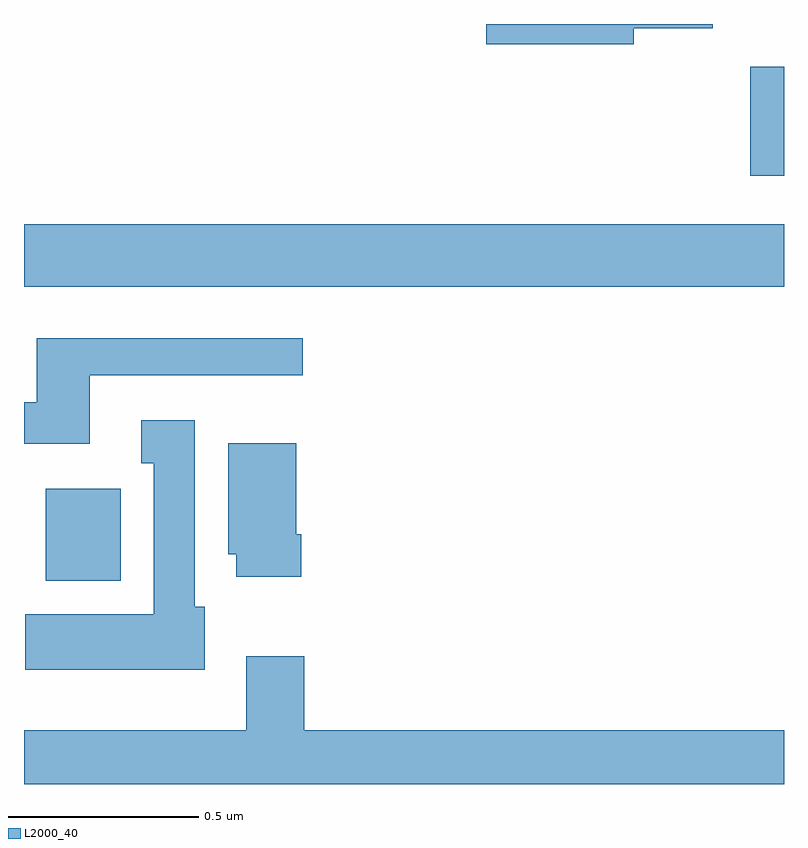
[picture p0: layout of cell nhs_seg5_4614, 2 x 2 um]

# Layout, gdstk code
import gdstk
lib = gdstk.Library(unit=1e-6, precision=1e-09)
def R(c, l, rs):  # rectangles x0, y0, x1, y1
    for r in rs: c.add(gdstk.rectangle(r[:2], r[2:], *l))
def P(c, l, *ps):  # polygons
    for p in ps: c.add(gdstk.Polygon(p, *l))
L2000_40 = (2000, 40)

nhs_seg5_4614 = lib.new_cell('nhs_seg5_4614')
R(nhs_seg5_4614, L2000_40, [(173.057,841.334,173.254,841.576), (173,842.108,175,842.272), (174.911,842.4,175,842.686)])
P(nhs_seg5_4614, L2000_40, [(174.604,842.788),(174.812,842.788),(174.812,842.799),(174.216,842.799),(174.216,842.746),(174.604,842.746)],
  [(173.173,841.875),(173.734,841.875),(173.734,841.972),(173.033,841.972),(173.033,841.804),(173,841.804),(173,841.694),(173.173,841.694)],
  [(173.476,841.266),(173.449,841.266),(173.449,841.756),(173.309,841.756),(173.309,841.643),(173.342,841.643),(173.342,841.246),(173.003,841.246),(173.003,841.1),(173.476,841.1)],
  [(173.729,841.456),(173.716,841.456),(173.716,841.696),(173.537,841.696),(173.537,841.404),(173.558,841.404),(173.558,841.344),(173.729,841.344)],
  [(175,840.94),(173.738,840.94),(173.738,841.135),(173.585,841.135),(173.585,840.94),(173,840.94),(173,840.799),(175,840.799)])

lib.write_gds('nhs_seg5_4614.gds')
